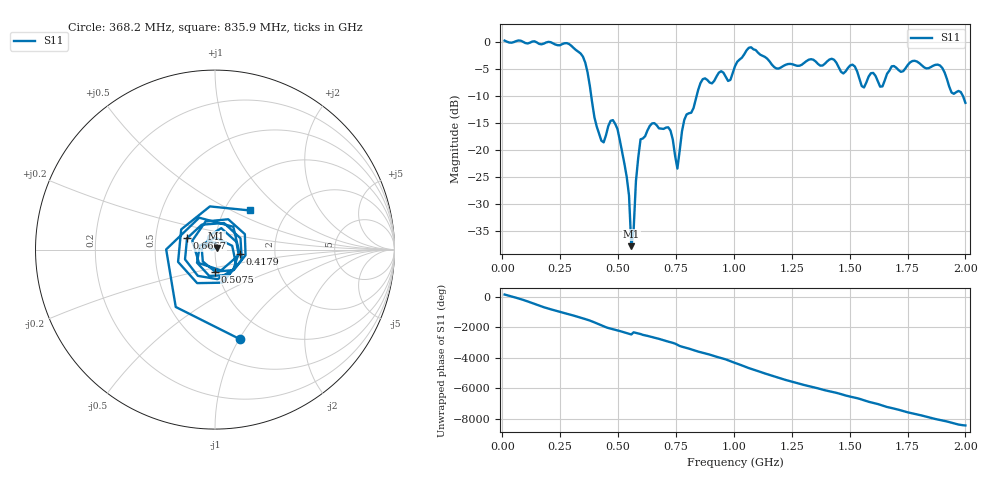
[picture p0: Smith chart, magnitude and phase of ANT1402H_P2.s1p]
!Created with skrf (http://scikit-rf.org).
# Hz S RI R 50.0
!freq ReS11 ImS11
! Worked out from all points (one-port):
!   201 points, 10 MHz to 2 GHz, reference 50 ohm
!   lowest |S11| = -37.9 dB at 557.2 MHz (marker M1), VSWR 1.03, Z = 50.9 + j0.928 ohm
!   |S11| at or under -10 dB: 383.9 MHz to 839.8 MHz (455.9 MHz wide, 74.5 % of centre); 1.988 GHz to end of sweep
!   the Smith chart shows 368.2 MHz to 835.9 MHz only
!   S11 on the Smith chart (normalised r, x): 368.2 MHz: 0.74, -1.01; 417.9 MHz: 1.32, -0.07; 507.5 MHz: 0.97, -0.24; 666.7 MHz: 0.73, +0.09; 835.9 MHz: 1.32, +0.63
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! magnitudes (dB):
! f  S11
! 10 MHz  0.2
! 258.8 MHz  -0.5
! 338.4 MHz  -2.2
! 368.2 MHz  -5.7
! 417.9 MHz  -17.1
! 437.9 MHz  -18.7
! 477.6 MHz  -14.5
! 507.5 MHz  -18.2
! 547.3 MHz  -28.5
! 557.2 MHz  -37.9
! 567.2 MHz  -34.9
! 577.1 MHz  -25.9
! 597 MHz  -18.1
! 666.7 MHz  -15.5
! 726.4 MHz  -16.5
! 756.2 MHz  -23.5
! 786.1 MHz  -14.5
! 835.9 MHz  -10.7
! 865.7 MHz  -7.0
! 975.1 MHz  -7.3
! 1.005 GHz  -4.6
! 1.075 GHz  -1.1
! 1.254 GHz  -4.2
! 1.502 GHz  -4.4
! 1.562 GHz  -8.5
! 1.751 GHz  -4.3
! 1.891 GHz  -4.4
! 2 GHz  -11.3
